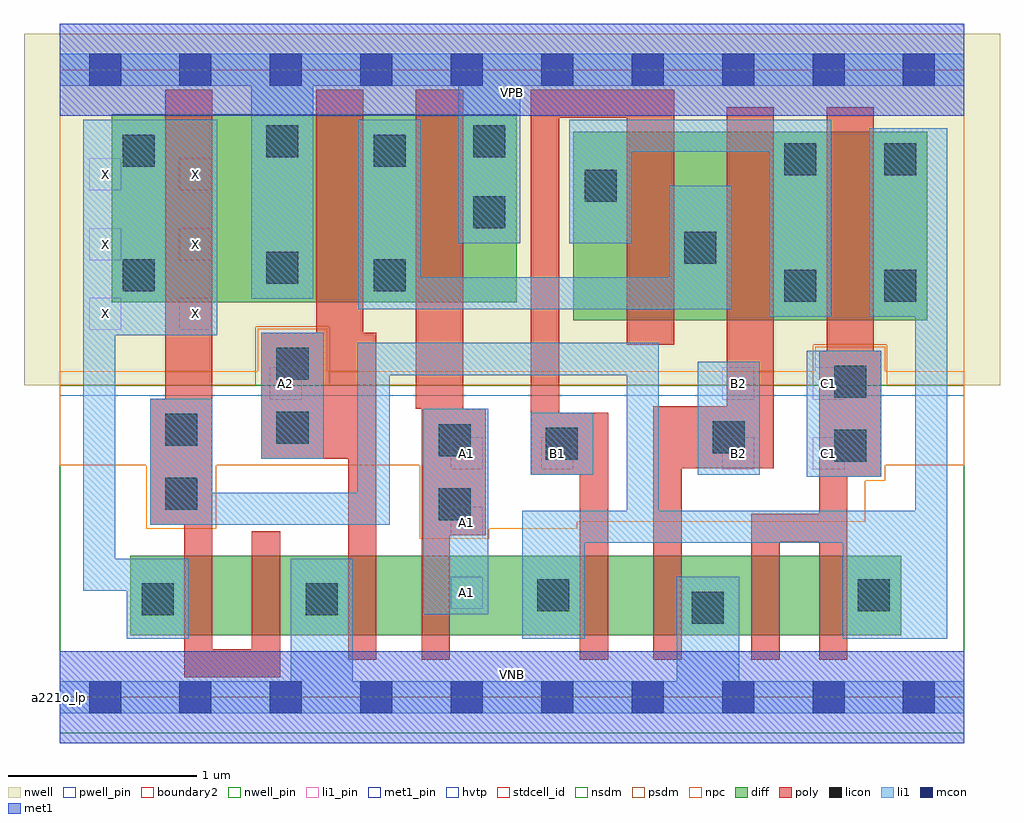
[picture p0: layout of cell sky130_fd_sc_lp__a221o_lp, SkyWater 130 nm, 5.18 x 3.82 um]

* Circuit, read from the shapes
.subckt sky130_fd_sc_lp__a221o_lp A1 A2 B1 B2 C1 VGND VNB VPB VPWR X
XM1 n1 n2 X VNB sky130_fd_pr__nfet_01v8 w=0.42 l=0.15
XM2 VGND n2 n1 VNB sky130_fd_pr__nfet_01v8 w=0.42 l=0.15
XM3 n3 A2 VGND VNB sky130_fd_pr__nfet_01v8 w=0.42 l=0.15
XM4 n2 A1 n3 VNB sky130_fd_pr__nfet_01v8 w=0.42 l=0.15
XM5 n4 B1 n2 VNB sky130_fd_pr__nfet_01v8 w=0.42 l=0.15
XM6 VGND B2 n4 VNB sky130_fd_pr__nfet_01v8 w=0.42 l=0.15
XM7 n5 C1 VGND VNB sky130_fd_pr__nfet_01v8 w=0.42 l=0.15
XM8 n2 C1 n5 VNB sky130_fd_pr__nfet_01v8 w=0.42 l=0.15
XM9 VPWR n2 X VPB sky130_fd_pr__pfet_01v8_hvt w=1 l=0.25
XM10 n6 A2 VPWR VPB sky130_fd_pr__pfet_01v8_hvt w=1 l=0.25
XM11 VPWR A1 n6 VPB sky130_fd_pr__pfet_01v8_hvt w=1 l=0.25
XM12 n6 B1 n7 VPB sky130_fd_pr__pfet_01v8_hvt w=1 l=0.25
XM13 n7 B2 n6 VPB sky130_fd_pr__pfet_01v8_hvt w=1 l=0.25
XM14 n2 C1 n7 VPB sky130_fd_pr__pfet_01v8_hvt w=1 l=0.25
.ends

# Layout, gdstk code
import gdstk
lib = gdstk.Library(unit=1e-6, precision=1e-09)
def R(c, l, rs):  # rectangles x0, y0, x1, y1
    for r in rs: c.add(gdstk.rectangle(r[:2], r[2:], *l))
def A(c, l, x, y, w, h, nx, ny, dx, dy):  # array of equal rectangles
    R(c, l, [(x+i*dx, y+j*dy, x+i*dx+w, y+j*dy+h) for i in range(nx) for j in range(ny)])
def P(c, l, *ps):  # polygons
    for p in ps: c.add(gdstk.Polygon(p, *l))
nwell_pin = (64, 16)
nwell = (64, 20)
diff = (65, 20)
poly = (66, 20)
licon = (66, 44)
li1_pin = (67, 16)
li1 = (67, 20)
mcon = (67, 44)
met1_pin = (68, 16)
met1 = (68, 20)
hvtp = (78, 44)
stdcell_id = (81, 4)
nsdm = (93, 44)
psdm = (94, 20)
npc = (95, 20)
pwell_pin = (122, 16)
boundary2 = (236, 0)

sky130_fd_sc_lp__a221o_l = lib.new_cell('sky130_fd_sc_lp__a221o_lp')
R(sky130_fd_sc_lp__a221o_l, nwell_pin, [(0,3.085,4.8,3.33)])
R(sky130_fd_sc_lp__a221o_l, nwell, [(-0.19,1.655,4.99,3.52)])
R(sky130_fd_sc_lp__a221o_l, diff, [(0.375,0.33,4.465,0.75), (2.725,2,4.605,3), (0.275,2.095,2.425,3.095)])
P(sky130_fd_sc_lp__a221o_l, poly, [(1.17,0.88),(1.02,0.88),(1.02,0.255),(0.81,0.255),(0.81,3.225),(0.56,3.225),(0.56,1.585),(0.48,1.585),(0.48,0.915),(0.66,0.915),(0.66,0.105),(1.17,0.105)],
  [(1.68,1.935),(1.61,1.935),(1.61,3.225),(1.36,3.225),(1.36,1.935),(1.07,1.935),(1.07,1.265),(1.53,1.265),(1.53,0.2),(1.68,0.2)],
  [(2.26,1.53),(2.14,1.53),(2.14,3.225),(1.89,3.225),(1.89,1.53),(1.92,1.53),(1.92,0.2),(2.07,0.2),(2.07,0.86),(2.26,0.86)],
  [(3.26,3.225),(2.5,3.225),(2.5,1.18),(2.76,1.18),(2.76,0.2),(2.91,0.2),(2.91,1.51),(2.65,1.51),(2.65,3.075),(3.01,3.075),(3.01,1.87),(3.26,1.87)],
  [(3.79,3.13),(3.54,3.13),(3.54,1.545),(3.15,1.545),(3.15,0.2),(3.3,0.2),(3.3,1.215),(3.79,1.215)],
  [(4.36,1.84),(4.32,1.84),(4.32,3.13),(4.07,3.13),(4.07,1.84),(4.03,1.84),(4.03,0.975),(3.67,0.975),(3.67,0.2),(3.82,0.2),(3.82,0.825),(4.03,0.825),(4.03,0.2),(4.18,0.2),(4.18,1.17),(4.36,1.17)])
R(sky130_fd_sc_lp__a221o_l, licon, [(3.355,0.39,3.525,0.56), (0.435,0.435,0.605,0.605), (1.305,0.435,1.475,0.605), (2.535,0.455,2.705,0.625), (4.235,0.455,4.405,0.625), (2.01,0.94,2.18,1.11), (0.56,0.995,0.73,1.165), (4.11,1.25,4.28,1.42), (2.58,1.26,2.75,1.43), (2.01,1.28,2.18,1.45), (3.465,1.295,3.635,1.465), (0.56,1.335,0.73,1.505), (1.15,1.345,1.32,1.515), (4.11,1.59,4.28,1.76), (1.15,1.685,1.32,1.855), (3.845,2.1,4.015,2.27), (4.375,2.1,4.545,2.27), (0.335,2.155,0.505,2.325), (1.665,2.155,1.835,2.325), (1.095,2.195,1.265,2.365), (3.315,2.3,3.485,2.47), (2.195,2.49,2.365,2.66), (2.785,2.63,2.955,2.8), (3.845,2.77,4.015,2.94), (4.375,2.77,4.545,2.94), (0.335,2.815,0.505,2.985), (1.665,2.815,1.835,2.985), (1.095,2.865,1.265,3.035), (2.195,2.865,2.365,3.035)])
A(sky130_fd_sc_lp__a221o_l, li1_pin, 2.075, 0.47, 0.17, 0.17, 1, 3, 0, 0.37)
A(sky130_fd_sc_lp__a221o_l, li1_pin, 0.155, 1.95, 0.17, 0.17, 1, 3, 0, 0.37)
A(sky130_fd_sc_lp__a221o_l, li1_pin, 0.635, 1.95, 0.17, 0.17, 1, 3, 0, 0.37)
R(sky130_fd_sc_lp__a221o_l, li1_pin, [(2.555,1.21,2.725,1.38), (3.515,1.21,3.685,1.38), (3.995,1.21,4.165,1.38), (1.115,1.58,1.285,1.75), (3.515,1.58,3.685,1.75), (3.995,1.58,4.165,1.75)])
R(sky130_fd_sc_lp__a221o_l, li1, [(1.93,0.44,2.275,1.53), (3.965,1.17,4.36,1.84), (2.5,1.18,2.83,1.51), (3.385,1.18,3.715,1.78), (1.07,1.265,1.4,1.935)])
P(sky130_fd_sc_lp__a221o_l, li1, [(2.115,2.41),(2.115,3.245),(1.345,3.245),(1.345,2.115),(1.015,2.115),(1.015,3.245),(0,3.245),(0,3.415),(4.8,3.415),(4.8,3.245),(2.445,3.245),(2.445,2.41)],
  [(1.225,0.085),(1.225,0.735),(1.555,0.735),(1.555,0.085),(3.275,0.085),(3.275,0.64),(3.605,0.64),(3.605,0.085),(4.8,0.085),(4.8,-0.085),(0,-0.085),(0,0.085)],
  [(0.295,1.92),(0.295,0.735),(0.685,0.735),(0.685,0.31),(0.355,0.31),(0.355,0.565),(0.125,0.565),(0.125,3.065),(0.835,3.065),(0.835,1.92)],
  [(0.81,1.085),(1.58,1.085),(1.58,1.88),(3.18,1.88),(3.18,0.99),(4.54,0.99),(4.54,2.02),(4.295,2.02),(4.295,3.02),(4.71,3.02),(4.71,0.31),(4.155,0.31),(4.155,0.82),(2.785,0.82),(2.785,0.31),(2.455,0.31),(2.455,0.99),(3.01,0.99),(3.01,1.71),(1.75,1.71),(1.75,0.915),(0.48,0.915),(0.48,1.585),(0.81,1.585)],
  [(3.765,2.02),(3.765,2.895),(3.035,2.895),(3.035,2.41),(2.705,2.41),(2.705,3.065),(4.095,3.065),(4.095,2.02)],
  [(3.235,2.23),(3.235,2.715),(3.565,2.715),(3.565,2.06),(1.585,2.06),(1.585,3.065),(1.915,3.065),(1.915,2.23)])
A(sky130_fd_sc_lp__a221o_l, mcon, 0.155, -0.085, 0.17, 0.17, 10, 2, 0.48, 3.33)
R(sky130_fd_sc_lp__a221o_l, met1_pin, [(0,0,4.8,0.245), (0,3.085,4.8,3.33)])
R(sky130_fd_sc_lp__a221o_l, met1, [(0,-0.245,4.8,0.245), (0,3.085,4.8,3.575)])
R(sky130_fd_sc_lp__a221o_l, hvtp, [(0,1.6,4.8,3.33)])
R(sky130_fd_sc_lp__a221o_l, stdcell_id, [(0,0,4.8,3.33)])
R(sky130_fd_sc_lp__a221o_l, nsdm, [(0,-0.19,4.8,1.655)])
P(sky130_fd_sc_lp__a221o_l, psdm, [(4.8,3.52),(0,3.52),(0,1.655),(1.04,1.655),(1.04,1.965),(1.43,1.965),(1.43,1.655),(4,1.655),(4,1.87),(4.39,1.87),(4.39,1.655),(4.8,1.655)])
P(sky130_fd_sc_lp__a221o_l, npc, [(4.8,1.73),(4.38,1.73),(4.38,1.86),(4.01,1.86),(4.01,1.73),(1.42,1.73),(1.42,1.955),(1.05,1.955),(1.05,1.73),(0,1.73),(0,1.23),(0.46,1.23),(0.46,0.895),(0.83,0.895),(0.83,1.23),(1.91,1.23),(1.91,0.84),(2.28,0.84),(2.28,0.895),(2.745,0.895),(2.745,0.93),(4.275,0.93),(4.275,1.15),(4.38,1.15),(4.38,1.23),(4.8,1.23)])
R(sky130_fd_sc_lp__a221o_l, pwell_pin, [(0,0,4.8,0.245)])
R(sky130_fd_sc_lp__a221o_l, boundary2, [(0,0,4.8,3.33)])
sky130_fd_sc_lp__a221o_l.add(gdstk.Label('VNB', (2.4,0.123), layer=64, texttype=59))
sky130_fd_sc_lp__a221o_l.add(gdstk.Label('VPB', (2.4,3.208), layer=64, texttype=5))
sky130_fd_sc_lp__a221o_l.add(gdstk.Label('a221o_lp', (0,0), layer=83, texttype=44))
sky130_fd_sc_lp__a221o_l.add(gdstk.Label('VPWR', (2.4,3.208), layer=68, texttype=5))
sky130_fd_sc_lp__a221o_l.add(gdstk.Label('VGND', (2.4,0.123), layer=68, texttype=5))
sky130_fd_sc_lp__a221o_l.add(gdstk.Label('X', (0.24,2.035), layer=67, texttype=5))
sky130_fd_sc_lp__a221o_l.add(gdstk.Label('X', (0.24,2.405), layer=67, texttype=5))
sky130_fd_sc_lp__a221o_l.add(gdstk.Label('X', (0.24,2.775), layer=67, texttype=5))
sky130_fd_sc_lp__a221o_l.add(gdstk.Label('X', (0.72,2.035), layer=67, texttype=5))
sky130_fd_sc_lp__a221o_l.add(gdstk.Label('X', (0.72,2.405), layer=67, texttype=5))
sky130_fd_sc_lp__a221o_l.add(gdstk.Label('X', (0.72,2.775), layer=67, texttype=5))
sky130_fd_sc_lp__a221o_l.add(gdstk.Label('B2', (3.6,1.295), layer=67, texttype=5))
sky130_fd_sc_lp__a221o_l.add(gdstk.Label('B2', (3.6,1.665), layer=67, texttype=5))
sky130_fd_sc_lp__a221o_l.add(gdstk.Label('B1', (2.64,1.295), layer=67, texttype=5))
sky130_fd_sc_lp__a221o_l.add(gdstk.Label('A2', (1.2,1.665), layer=67, texttype=5))
sky130_fd_sc_lp__a221o_l.add(gdstk.Label('A1', (2.16,0.555), layer=67, texttype=5))
sky130_fd_sc_lp__a221o_l.add(gdstk.Label('A1', (2.16,0.925), layer=67, texttype=5))
sky130_fd_sc_lp__a221o_l.add(gdstk.Label('A1', (2.16,1.295), layer=67, texttype=5))
sky130_fd_sc_lp__a221o_l.add(gdstk.Label('C1', (4.08,1.295), layer=67, texttype=5))
sky130_fd_sc_lp__a221o_l.add(gdstk.Label('C1', (4.08,1.665), layer=67, texttype=5))

lib.write_gds('sky130_fd_sc_lp__a221o_lp.gds')
